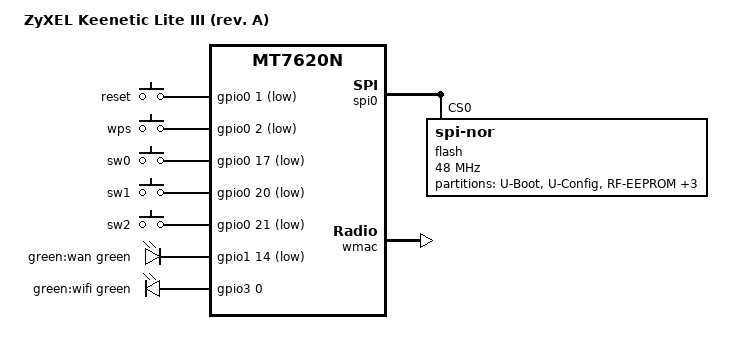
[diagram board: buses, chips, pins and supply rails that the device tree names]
// SPDX-License-Identifier: GPL-2.0-or-later OR MIT

#include "mt7620n.dtsi"

#include <dt-bindings/gpio/gpio.h>
#include <dt-bindings/input/input.h>
#include <dt-bindings/leds/common.h>

/ {
	compatible = "zyxel,keenetic-lite-iii-a", "ralink,mt7620n-soc";
	model = "ZyXEL Keenetic Lite III (rev. A)";

	aliases {
		led-boot = &led_wan;
		led-failsafe = &led_wan;
		led-running = &led_wan;
		led-upgrade = &led_wan;
	};

	keys {
		compatible = "gpio-keys";
 
		reset {
			label = "reset";
			gpios = <&gpio0 1 GPIO_ACTIVE_LOW>; // #GPIO1
			linux,code = <KEY_RESTART>;
		};

		wps {
			label = "wps";
			gpios = <&gpio0 2 GPIO_ACTIVE_LOW>; // #GPIO2
			linux,code = <KEY_WPS_BUTTON>;
		};

		sw0 {
			label = "sw0";
			gpios = <&gpio0 17 GPIO_ACTIVE_LOW>; // #GPIO17
			linux,code = <BTN_0>;
		};

		sw1 {
			label = "sw1";
			gpios = <&gpio0 20 GPIO_ACTIVE_LOW>; // #GPIO20
			linux,code = <BTN_1>;
		};

		sw2 {
			label = "sw2";
			gpios = <&gpio0 21 GPIO_ACTIVE_LOW>; // #GPIO21
			linux,code = <BTN_2>;
		};
	};

	leds {
		compatible = "gpio-leds";

		led_wan: wan {
			label = "green:wan";
			color = <LED_COLOR_ID_GREEN>;
			function = LED_FUNCTION_STATUS;
			gpios = <&gpio1 14 GPIO_ACTIVE_LOW>; // #GPIO38
		};

		wifi {
			label = "green:wifi";
			color = <LED_COLOR_ID_GREEN>;
			function = LED_FUNCTION_WLAN;
			gpios = <&gpio3 0 GPIO_ACTIVE_HIGH>; // #GPIO72
		};
	};

};

&gpio0 {
	status = "okay";
};

&gpio1 {
	status = "okay";
};

&gpio3 {
	status = "okay";
};

&spi0 {
	status = "okay";

	flash@0 {
		compatible = "jedec,spi-nor";
		reg = <0>;
		spi-max-frequency = <48000000>;

		partitions {
			compatible = "fixed-partitions";
			#address-cells = <1>;
			#size-cells = <1>;

			partition@0 {
				label = "U-Boot";
				reg = <0x0 0x30000>;
				read-only;
			};

			partition@30000 {
				label = "U-Config";
				reg = <0x30000 0x10000>;
			};

			factory: partition@40000 {
				label = "RF-EEPROM";
				reg = <0x40000 0x10000>;
				read-only;

				nvmem-layout {
					compatible = "fixed-layout";
					#address-cells = <1>;
					#size-cells = <1>;

					eeprom_factory_0: eeprom@0 {
						reg = <0x0 0x200>;
					};
				};
			};

			partition@50000 {
				compatible = "denx,uimage";
				label = "firmware";
				reg = <0x50000 0x7a0000>;
			};

			partition@7f0000 {
				label = "Config";
				reg = <0x7f0000 0x10000>;
			};

			partition@0_1 {
				label = "Full";
				reg = <0x0 0x800000>;
			};
		};
	};
};

&state_default {
	gpio {
		groups = "i2c";
		function = "gpio";
	};
};

&wmac {
	nvmem-cells = <&eeprom_factory_0>;
	nvmem-cell-names = "eeprom";
};
